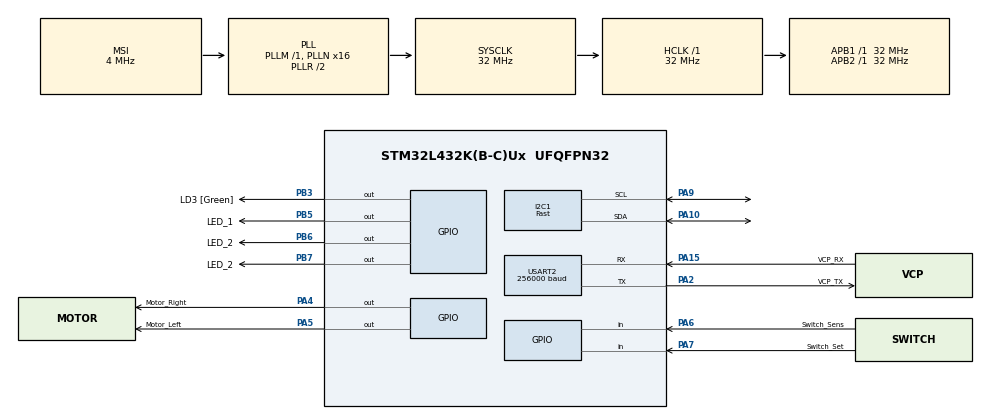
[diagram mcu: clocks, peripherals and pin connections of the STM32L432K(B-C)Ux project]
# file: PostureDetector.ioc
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Dma.Request0=USART2_TX
Dma.USART2_TX.0.Direction=DMA_MEMORY_TO_PERIPH
Dma.USART2_TX.0.Instance=DMA1_Channel7
Dma.USART2_TX.0.MemDataAlignment=DMA_MDATAALIGN_BYTE
Dma.USART2_TX.0.MemInc=DMA_MINC_ENABLE
Dma.USART2_TX.0.Mode=DMA_NORMAL
Dma.USART2_TX.0.PeriphDataAlignment=DMA_PDATAALIGN_BYTE
Dma.USART2_TX.0.PeriphInc=DMA_PINC_DISABLE
Dma.USART2_TX.0.Priority=DMA_PRIORITY_LOW
FREERTOS.Tasks01=LedTask,24,128,BlinkLed,Default,NULL,Dynamic,NULL,NULL;SendUartTask,8,256,SendParam,Default,NULL,Dynamic,NULL,NULL;GetMPUDataTask,48,512,GetMPU,Default,NULL,Dynamic,NULL,NULL;CheckSwitchTask,8,256,CheckButton,Default,NULL,Dynamic,NULL,NULL
FREERTOS.configMAX_TASK_NAME_LEN=32
FREERTOS.configTOTAL_HEAP_SIZE=8000
I2C1.CustomTiming=Disabled
I2C1.I2C_Speed_Mode=I2C_Fast
I2C1.Timing=0x00300F38
Mcu.Family=STM32L4
Mcu.Name=STM32L432K(B-C)Ux
Mcu.Package=UFQFPN32
NVIC.DMA1_Channel7_IRQn=true\:5\:0\:false\:false\:true\:true\:false\:true
NVIC.PriorityGroup=NVIC_PRIORITYGROUP_4
NVIC.TIM1_UP_TIM16_IRQn=true\:0\:0\:false\:false\:true\:false\:false\:true
NVIC.TimeBase=TIM1_UP_TIM16_IRQn
NVIC.TimeBaseIP=TIM1
PA0.GPIO_Label=MCO [High speed clock in]
PA0.Mode=HSE-External-Clock-Source-for-LittleOrca
PA0.Signal=RCC_CK_IN
PA10.Mode=I2C
PA10.Signal=I2C1_SDA
PA13\ (JTMS-SWDIO).GPIO_Label=SWDIO
PA13\ (JTMS-SWDIO).Mode=Serial_Wire
PA13\ (JTMS-SWDIO).Signal=SYS_JTMS-SWDIO
PA14\ (JTCK-SWCLK).GPIO_Label=SWCLK
PA14\ (JTCK-SWCLK).Mode=Serial_Wire
PA14\ (JTCK-SWCLK).Signal=SYS_JTCK-SWCLK
PA15\ (JTDI).GPIO_Label=VCP_RX
PA15\ (JTDI).Mode=Asynchronous
PA15\ (JTDI).Signal=USART2_RX
PA2.GPIO_Label=VCP_TX
PA2.Mode=Asynchronous
PA2.Signal=USART2_TX
PA4.GPIO_Label=Motor_Right
PA4.Signal=GPIO_Output
PA5.GPIO_Label=Motor_Left
PA5.Signal=GPIO_Output
PA6.GPIO_Label=Switch_Sens
PA6.Signal=GPIO_Input
PA7.GPIO_Label=Switch_Set
PA7.Signal=GPIO_Input
PA9.Mode=I2C
PA9.Signal=I2C1_SCL
PB3\ (JTDO-TRACESWO).GPIO_Label=LD3 [Green]
PB3\ (JTDO-TRACESWO).Signal=GPIO_Output
PB5.GPIO_Label=LED_1
PB5.Signal=GPIO_Output
PB6.GPIO_Label=LED_2
PB6.Signal=GPIO_Output
PB7.GPIO_Label=LED_2
PB7.Signal=GPIO_Output
PC14-OSC32_IN\ (PC14).Mode=LSE-External-Oscillator
PC14-OSC32_IN\ (PC14).Signal=RCC_OSC32_IN
PC15-OSC32_OUT\ (PC15).Mode=LSE-External-Oscillator
PC15-OSC32_OUT\ (PC15).Signal=RCC_OSC32_OUT
ProjectManager.HeapSize=0x200
ProjectManager.StackSize=0x400
ProjectManager.TargetToolchain=STM32CubeIDE
RCC.AHBFreq_Value=32000000
RCC.APB1Freq_Value=32000000
RCC.APB1TimFreq_Value=32000000
RCC.APB2Freq_Value=32000000
RCC.APB2TimFreq_Value=32000000
RCC.CortexFreq_Value=32000000
RCC.HCLKFreq_Value=32000000
RCC.HSE_VALUE=8000000
RCC.HSI16_VALUE=16000000
RCC.HSI48_VALUE=48000000
RCC.HSI_VALUE=16000000
RCC.MSI_VALUE=4000000
RCC.PLLMUL=RCC_PLLMUL_4
RCC.PLLN=16
RCC.SYSCLKFreq_VALUE=32000000
RCC.SYSCLKSource=RCC_SYSCLKSOURCE_PLLCLK
RCC.VCOOutputFreq_Value=64000000
USART2.BaudRate=256000
USART2.VirtualMode-Asynchronous=VM_ASYNC
VP_FREERTOS_VS_CMSIS_V2.Mode=CMSIS_V2
VP_SYS_VS_tim1.Mode=TIM1
board=NUCLEO-L432KC

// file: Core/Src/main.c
/* USER CODE BEGIN Header */
/**
  ******************************************************************************
  * @file           : main.c
  * @brief          : Main program body
  ******************************************************************************
  * @attention
  *
  * <h2><center>&copy; Copyright (c) 2021 STMicroelectronics.
  * All rights reserved.</center></h2>
  *
  * This software component is licensed by ST under Ultimate Liberty license
  * SLA0044, the "License"; You may not use this file except in compliance with
  * the License. You may obtain a copy of the License at:
  *                             www.st.com/SLA0044
  *
  ******************************************************************************
  */
/* USER CODE END Header */
#include "main.h"
#include "cmsis_os.h"

/* USER CODE BEGIN Includes */
#include <stdbool.h>
#include "uart.h"
#include "mpu6050.h"

/* USER CODE END Includes */

/* USER CODE BEGIN PTD */
MPU6050 mpu;
/* USER CODE END PTD */

/* USER CODE BEGIN PD */
//temp variable for sprintf function
char value[30] = "";

/* USER CODE END PD */

I2C_HandleTypeDef hi2c1;

UART_HandleTypeDef huart2;
DMA_HandleTypeDef hdma_usart2_tx;

/* Definitions for LedTask */
osThreadId_t LedTaskHandle;
const osThreadAttr_t LedTask_attributes = {
  .name = "LedTask",
  .priority = (osPriority_t) osPriorityNormal,
  .stack_size = 128 * 4
};
/* Definitions for SendUartTask */
osThreadId_t SendUartTaskHandle;
const osThreadAttr_t SendUartTask_attributes = {
  .name = "SendUartTask",
  .priority = (osPriority_t) osPriorityLow,
  .stack_size = 256 * 4
};
/* Definitions for GetMPUDataTask */
osThreadId_t GetMPUDataTaskHandle;
const osThreadAttr_t GetMPUDataTask_attributes = {
  .name = "GetMPUDataTask",
  .priority = (osPriority_t) osPriorityRealtime,
  .stack_size = 512 * 4
};
/* Definitions for CheckSwitchTask */
osThreadId_t CheckSwitchTaskHandle;
const osThreadAttr_t CheckSwitchTask_attributes = {
  .name = "CheckSwitchTask",
  .priority = (osPriority_t) osPriorityLow,
  .stack_size = 256 * 4
};

void SystemClock_Config(void);
static void MX_GPIO_Init(void);
static void MX_DMA_Init(void);
static void MX_USART2_UART_Init(void);
static void MX_I2C1_Init(void);
void BlinkLed(void *argument);
void SendParam(void *argument);
void GetMPU(void *argument);
void CheckButton(void *argument);

int main(void)
{

  /* MCU Configuration--------------------------------------------------------*/

  /* Reset of all peripherals, Initializes the Flash interface and the Systick. */
  HAL_Init();

  /* Configure the system clock */
  SystemClock_Config();

  /* Initialize all configured peripherals */
  MX_GPIO_Init();
  MX_DMA_Init();
  MX_USART2_UART_Init();
  MX_I2C1_Init();
  /* USER CODE BEGIN 2 */

  //init mpu with the given parameters
  init_mpu(&mpu, &hi2c1, MPU6050_ACC_SENS_2G, MPU6050_GYR_SENS_250);

  /* USER CODE END 2 */

  /* Init scheduler */
  osKernelInitialize();

  /* Create the thread(s) */
  /* creation of LedTask */
  LedTaskHandle = osThreadNew(BlinkLed, NULL, &LedTask_attributes);

  /* creation of SendUartTask */
  SendUartTaskHandle = osThreadNew(SendParam, NULL, &SendUartTask_attributes);

  /* creation of GetMPUDataTask */
  GetMPUDataTaskHandle = osThreadNew(GetMPU, NULL, &GetMPUDataTask_attributes);

  /* creation of CheckSwitchTask */
  CheckSwitchTaskHandle = osThreadNew(CheckButton, NULL, &CheckSwitchTask_attributes);

  /* Start scheduler */
  osKernelStart();

  /* We should never get here as control is now taken by the scheduler */
  /* Infinite loop */
  while (1)
  {

  }
}

void SystemClock_Config(void)
{
  RCC_OscInitTypeDef RCC_OscInitStruct = {0};
  RCC_ClkInitTypeDef RCC_ClkInitStruct = {0};
  RCC_PeriphCLKInitTypeDef PeriphClkInit = {0};

  /** Configure LSE Drive Capability
  */
  HAL_PWR_EnableBkUpAccess();
  __HAL_RCC_LSEDRIVE_CONFIG(RCC_LSEDRIVE_LOW);
  /** Initializes the RCC Oscillators according to the specified parameters
  * in the RCC_OscInitTypeDef structure.
  */
  RCC_OscInitStruct.OscillatorType = RCC_OSCILLATORTYPE_LSE|RCC_OSCILLATORTYPE_MSI;
  RCC_OscInitStruct.LSEState = RCC_LSE_ON;
  RCC_OscInitStruct.MSIState = RCC_MSI_ON;
  RCC_OscInitStruct.MSICalibrationValue = 0;
  RCC_OscInitStruct.MSIClockRange = RCC_MSIRANGE_6;
  RCC_OscInitStruct.PLL.PLLState = RCC_PLL_ON;
  RCC_OscInitStruct.PLL.PLLSource = RCC_PLLSOURCE_MSI;
  RCC_OscInitStruct.PLL.PLLM = 1;
  RCC_OscInitStruct.PLL.PLLN = 16;
  RCC_OscInitStruct.PLL.PLLP = RCC_PLLP_DIV7;
  RCC_OscInitStruct.PLL.PLLQ = RCC_PLLQ_DIV2;
  RCC_OscInitStruct.PLL.PLLR = RCC_PLLR_DIV2;
  if (HAL_RCC_OscConfig(&RCC_OscInitStruct) != HAL_OK)
  {
    Error_Handler();
  }
  /** Initializes the CPU, AHB and APB buses clocks
  */
  RCC_ClkInitStruct.ClockType = RCC_CLOCKTYPE_HCLK|RCC_CLOCKTYPE_SYSCLK
                              |RCC_CLOCKTYPE_PCLK1|RCC_CLOCKTYPE_PCLK2;
  RCC_ClkInitStruct.SYSCLKSource = RCC_SYSCLKSOURCE_PLLCLK;
  RCC_ClkInitStruct.AHBCLKDivider = RCC_SYSCLK_DIV1;
  RCC_ClkInitStruct.APB1CLKDivider = RCC_HCLK_DIV1;
  RCC_ClkInitStruct.APB2CLKDivider = RCC_HCLK_DIV1;

  if (HAL_RCC_ClockConfig(&RCC_ClkInitStruct, FLASH_LATENCY_1) != HAL_OK)
  {
    Error_Handler();
  }
  PeriphClkInit.PeriphClockSelection = RCC_PERIPHCLK_USART2|RCC_PERIPHCLK_I2C1;
  PeriphClkInit.Usart2ClockSelection = RCC_USART2CLKSOURCE_PCLK1;
  PeriphClkInit.I2c1ClockSelection = RCC_I2C1CLKSOURCE_PCLK1;
  if (HAL_RCCEx_PeriphCLKConfig(&PeriphClkInit) != HAL_OK)
  {
    Error_Handler();
  }
  /** Configure the main internal regulator output voltage
  */
  if (HAL_PWREx_ControlVoltageScaling(PWR_REGULATOR_VOLTAGE_SCALE1) != HAL_OK)
  {
    Error_Handler();
  }
  /** Enable MSI Auto calibration
  */
  HAL_RCCEx_EnableMSIPLLMode();
}

static void MX_I2C1_Init(void)
{

  hi2c1.Instance = I2C1;
  hi2c1.Init.Timing = 0x00300F38;
  hi2c1.Init.OwnAddress1 = 0;
  hi2c1.Init.AddressingMode = I2C_ADDRESSINGMODE_7BIT;
  hi2c1.Init.DualAddressMode = I2C_DUALADDRESS_DISABLE;
  hi2c1.Init.OwnAddress2 = 0;
  hi2c1.Init.OwnAddress2Masks = I2C_OA2_NOMASK;
  hi2c1.Init.GeneralCallMode = I2C_GENERALCALL_DISABLE;
  hi2c1.Init.NoStretchMode = I2C_NOSTRETCH_DISABLE;
  if (HAL_I2C_Init(&hi2c1) != HAL_OK)
  {
    Error_Handler();
  }
  /** Configure Analogue filter
  */
  if (HAL_I2CEx_ConfigAnalogFilter(&hi2c1, I2C_ANALOGFILTER_ENABLE) != HAL_OK)
  {
    Error_Handler();
  }
  /** Configure Digital filter
  */
  if (HAL_I2CEx_ConfigDigitalFilter(&hi2c1, 0) != HAL_OK)
  {
    Error_Handler();
  }

}

static void MX_USART2_UART_Init(void)
{

  huart2.Instance = USART2;
  huart2.Init.BaudRate = 256000;
  huart2.Init.WordLength = UART_WORDLENGTH_8B;
  huart2.Init.StopBits = UART_STOPBITS_1;
  huart2.Init.Parity = UART_PARITY_NONE;
  huart2.Init.Mode = UART_MODE_TX_RX;
  huart2.Init.HwFlowCtl = UART_HWCONTROL_NONE;
  huart2.Init.OverSampling = UART_OVERSAMPLING_16;
  huart2.Init.OneBitSampling = UART_ONE_BIT_SAMPLE_DISABLE;
  huart2.AdvancedInit.AdvFeatureInit = UART_ADVFEATURE_NO_INIT;
  if (HAL_UART_Init(&huart2) != HAL_OK)
  {
    Error_Handler();
  }

}

static void MX_DMA_Init(void)
{

  /* DMA controller clock enable */
  __HAL_RCC_DMA1_CLK_ENABLE();

  /* DMA interrupt init */
  /* DMA1_Channel7_IRQn interrupt configuration */
  HAL_NVIC_SetPriority(DMA1_Channel7_IRQn, 5, 0);
  HAL_NVIC_EnableIRQ(DMA1_Channel7_IRQn);

}

static void MX_GPIO_Init(void)
{
  GPIO_InitTypeDef GPIO_InitStruct = {0};

  /* GPIO Ports Clock Enable */
  __HAL_RCC_GPIOC_CLK_ENABLE();
  __HAL_RCC_GPIOA_CLK_ENABLE();
  __HAL_RCC_GPIOB_CLK_ENABLE();

  /*Configure GPIO pin Output Level */
  HAL_GPIO_WritePin(GPIOA, Motor_Right_Pin|Motor_Left_Pin, GPIO_PIN_RESET);

  /*Configure GPIO pin Output Level */
  HAL_GPIO_WritePin(GPIOB, LD3_Pin|LED_1_Pin|LED_2_Pin|LED_2B7_Pin, GPIO_PIN_RESET);

  /*Configure GPIO pins : Motor_Right_Pin Motor_Left_Pin */
  GPIO_InitStruct.Pin = Motor_Right_Pin|Motor_Left_Pin;
  GPIO_InitStruct.Mode = GPIO_MODE_OUTPUT_PP;
  GPIO_InitStruct.Pull = GPIO_NOPULL;
  GPIO_InitStruct.Speed = GPIO_SPEED_FREQ_LOW;
  HAL_GPIO_Init(GPIOA, &GPIO_InitStruct);

  /*Configure GPIO pins : Switch_Sens_Pin Switch_Set_Pin */
  GPIO_InitStruct.Pin = Switch_Sens_Pin|Switch_Set_Pin;
  GPIO_InitStruct.Mode = GPIO_MODE_INPUT;
  GPIO_InitStruct.Pull = GPIO_NOPULL;
  HAL_GPIO_Init(GPIOA, &GPIO_InitStruct);

  /*Configure GPIO pins : LD3_Pin LED_1_Pin LED_2_Pin LED_2B7_Pin */
  GPIO_InitStruct.Pin = LD3_Pin|LED_1_Pin|LED_2_Pin|LED_2B7_Pin;
  GPIO_InitStruct.Mode = GPIO_MODE_OUTPUT_PP;
  GPIO_InitStruct.Pull = GPIO_NOPULL;
  GPIO_InitStruct.Speed = GPIO_SPEED_FREQ_LOW;
  HAL_GPIO_Init(GPIOB, &GPIO_InitStruct);

}

void BlinkLed(void *argument)
{
  /* USER CODE BEGIN 5 */
  /* Infinite loop */
  for(;;)
  {
	HAL_GPIO_TogglePin(LD3_GPIO_Port, LD3_Pin);
	vTaskDelay(500 / portTICK_RATE_MS);
  }
  /* USER CODE END 5 */
}

void SendParam(void *argument)
{
  /* USER CODE BEGIN SendParam */
  /* Infinite loop */
  for(;;)
  {
	sprintf(value,"Acc -> %d %d %d \r\n", (int)mpu.acc_data[0],(int)mpu.acc_data[1],(int)mpu.acc_data[2]);
	uart_put_string(value);
	sprintf(value,"Gyro -> %d %d %d \r\n", (int)mpu.gyro_data[0],(int)mpu.gyro_data[1],(int)mpu.gyro_data[2]);
	uart_put_string(value);
	uart_put_string("------------\r\n");
	vTaskDelay(200 / portTICK_RATE_MS);

  }
  /* USER CODE END SendParam */
}

//get mpu data
void GetMPU(void *argument)
{
  /* USER CODE BEGIN GetMPU */
	//interval between measurements
	float dt = 0.1;
	//before data, for trapezoidal method
	static int16_t gyro_x_before = 0;
	static int16_t gyro_y_before = 0;
	static int16_t gyro_z_before = 0;
  /* Infinite loop */
  for(;;)
  {
	//save before data, for trapezoidal method
	gyro_x_before = mpu.gyro_data[0];
	gyro_y_before = mpu.gyro_data[1];
	gyro_z_before = mpu.gyro_data[2];

	get_acc_data(&mpu);
	get_gyro_data(&mpu);

	//integration using the trapezoidal method
	mpu.gyro_after_integration[0] = ((mpu.gyro_data[0] + gyro_x_before)*dt)/2.0;
	mpu.gyro_after_integration[1] = ((mpu.gyro_data[1] + gyro_y_before)*dt)/2.0;
	mpu.gyro_after_integration[2] = ((mpu.gyro_data[2] + gyro_z_before)*dt)/2.0;
	vTaskDelay((uint32_t)(dt*10));
  }
  /* USER CODE END GetMPU */
}

//read push button
void CheckButton(void *argument)
{
  /* USER CODE BEGIN CheckButton */
	static uint8_t sens_lvl = 1;
  /* Infinite loop */
  for(;;)
  {
	//detection of a button pressed - change sensitive value 1-3
    if(HAL_GPIO_ReadPin(Switch_Sens_GPIO_Port, Switch_Sens_Pin))
    {
    	while(HAL_GPIO_ReadPin(Switch_Sens_GPIO_Port, Switch_Sens_Pin)) vTaskDelay(25);
    	sens_lvl++;
    	if(sens_lvl>3) sens_lvl = 1;
    	switch(sens_lvl)
    	{
    		case 1:
    			mpu.free_degree = 5; // first free lvl, 5 degree
    		break;

    		case 2:
    			mpu.free_degree = 10; // first free lvl, 10 degree
    		break;

    		case 3:
    			mpu.free_degree = 15; // first free lvl, 15 degree
    		break;
    	}
    }

    //detection of a button pressed - save actual position in space
    if(HAL_GPIO_ReadPin(Switch_Set_GPIO_Port, Switch_Set_Pin))
    {
    	while(HAL_GPIO_ReadPin(Switch_Set_GPIO_Port, Switch_Set_Pin)) vTaskDelay(25);
    	save_act_position(&mpu);
    }

  }
  /* USER CODE END CheckButton */
}

 /**
  * @brief  Period elapsed callback in non blocking mode
  * @note   This function is called  when TIM1 interrupt took place, inside
  * HAL_TIM_IRQHandler(). It makes a direct call to HAL_IncTick() to increment
  * a global variable "uwTick" used as application time base.
  * @param  htim : TIM handle
  * @retval None
  */
void HAL_TIM_PeriodElapsedCallback(TIM_HandleTypeDef *htim)
{
  if (htim->Instance == TIM1) {
    HAL_IncTick();
  }
}

void Error_Handler(void)
{
  __disable_irq();
  while (1)
  {
  }
}

/************************ (C) COPYRIGHT STMicroelectronics *****END OF FILE****/
